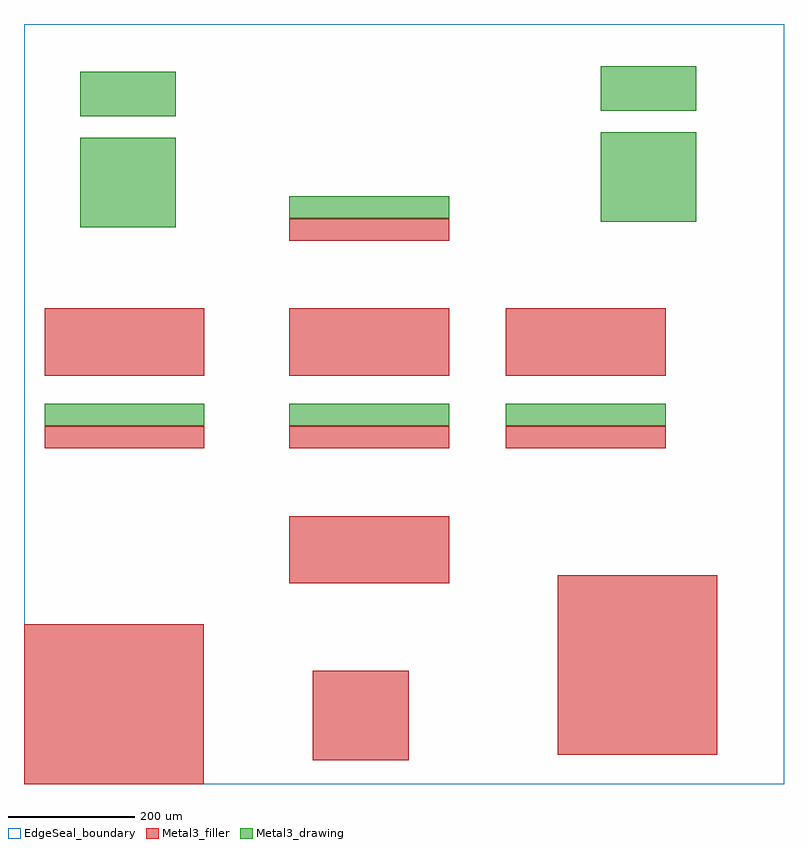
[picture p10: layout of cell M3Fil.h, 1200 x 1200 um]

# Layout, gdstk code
import gdstk
lib = gdstk.Library(unit=1e-6, precision=1e-09)
def R(c, l, rs):  # rectangles x0, y0, x1, y1
    for r in rs: c.add(gdstk.rectangle(r[:2], r[2:], *l))
def A(c, l, x, y, w, h, nx, ny, dx, dy):  # array of equal rectangles
    R(c, l, [(x+i*dx, y+j*dy, x+i*dx+w, y+j*dy+h) for i in range(nx) for j in range(ny)])
Metal3_drawing = (30, 0)
Metal3_filler = (30, 22)
EdgeSeal_boundary = (39, 4)

m3fil_h = lib.new_cell('M3Fil.h')
A(m3fil_h, Metal3_drawing, 32.975, 565.64, 50, 35, 5, 1, 50.5, 0)
A(m3fil_h, Metal3_drawing, 419.065, 565.64, 50, 35, 5, 2, 50.5, 327.725)
A(m3fil_h, Metal3_drawing, 760.905, 565.64, 50, 35, 5, 1, 50.5, 0)
A(m3fil_h, Metal3_drawing, 88.995, 879.115, 50, 35, 3, 4, 50.5, 35.5)
A(m3fil_h, Metal3_drawing, 910.625, 887.55, 50, 35, 3, 4, 50.5, 35.5)
A(m3fil_h, Metal3_drawing, 88.995, 1054.34, 50, 35, 3, 2, 50.5, 35.5)
A(m3fil_h, Metal3_drawing, 910.625, 1062.775, 50, 35, 3, 2, 50.5, 35.5)
A(m3fil_h, Metal3_filler, 0, 0, 35, 50, 8, 5, 35.5, 50.5)
A(m3fil_h, Metal3_filler, 456.17, 37.335, 50, 35, 3, 4, 50.5, 35.5)
A(m3fil_h, Metal3_filler, 842.445, 46.18, 50, 35, 5, 8, 50.5, 35.5)
A(m3fil_h, Metal3_filler, 419.065, 317.14, 50, 35, 5, 3, 50.5, 35.5)
A(m3fil_h, Metal3_filler, 32.975, 530.14, 50, 35, 5, 2, 50.5, 114.725)
A(m3fil_h, Metal3_filler, 419.065, 530.14, 50, 35, 5, 2, 50.5, 114.725)
A(m3fil_h, Metal3_filler, 760.905, 530.14, 50, 35, 5, 2, 50.5, 114.725)
A(m3fil_h, Metal3_filler, 32.975, 680.365, 50, 35, 5, 2, 50.5, 35.5)
A(m3fil_h, Metal3_filler, 419.065, 680.365, 50, 35, 5, 2, 50.5, 35.5)
A(m3fil_h, Metal3_filler, 760.905, 680.365, 50, 35, 5, 2, 50.5, 35.5)
A(m3fil_h, Metal3_filler, 419.065, 857.865, 50, 35, 5, 1, 50.5, 0)
R(m3fil_h, EdgeSeal_boundary, [(0,0,1200,1200)])

lib.write_gds('M3Fil.h.gds')
